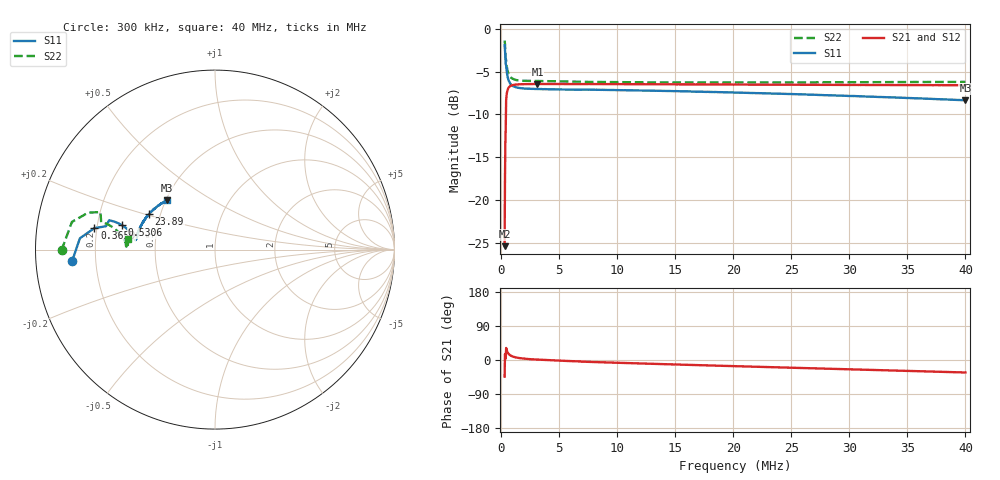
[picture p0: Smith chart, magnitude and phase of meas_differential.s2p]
! Created with skrf 1.12.0 (http://scikit-rf.org).
! Data is not renormalized
! S-parameter uses the power definition
# Hz S RI R
!freq ReS11 ImS11 ReS21 ImS21 ReS12 ImS12 ReS22 ImS22
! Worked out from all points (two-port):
!   1206 points, 300 kHz to 40 MHz, reference per port
!   highest |S21| = -6.45 dB at 3.133 MHz (marker M1); lowest = -25.4 dB at 300 kHz (marker M2)
!   |S21| within 3 dB of the highest: 419.8 kHz to end of sweep
!   lowest |S11| = -8.3 dB at 40 MHz (marker M3), VSWR 2.24
!   |S11| at or under -10 dB: nowhere
!   |S22| runs from -6.3 to -1.4 dB; largest |S21 - S12| = 0.011
!   S11 on the Smith chart (normalised r, x): 300 kHz: 0.11, -0.04; 365.9 kHz: 0.19, +0.09; 530.6 kHz: 0.31, +0.12; 23.89 MHz: 0.43, +0.21; 40 MHz: 0.51, +0.33
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300000  -0.7964 -0.0652  0.0386 -0.0374  0.0382 -0.0399  -0.8548 -0.00343
! Port Impedance 100.00000000000000 0.00000000000000 100.00000000000000 0.00000000000000
365892  -0.6718 0.1197  0.2149 0.0403  0.2216 0.0343  -0.7064 0.206
530622  -0.5187 0.1364  0.4021 0.1613  0.4025 0.1669  -0.5657 0.1214
563568  -0.5065 0.1286  0.4149 0.1495  0.416 0.1552  -0.5548 0.113
596514  -0.4976 0.1212  0.4246 0.1395  0.426 0.1452  -0.546 0.1057
629460  -0.4902 0.1149  0.4319 0.1303  0.4336 0.136  -0.5391 0.0975
728298  -0.4757 0.0995  0.4467 0.1094  0.4493 0.1148  -0.5255 0.0824
827136  -0.467 0.0897  0.4552 0.0938  0.4579 0.099  -0.5164 0.0711
958920  -0.4593 0.079  0.4617 0.0784  0.4648 0.0835  -0.509 0.0602
1123650  -0.4542 0.0709  0.4663 0.0649  0.4698 0.0699  -0.5039 0.0502
1584894  -0.447 0.0585  0.4721 0.0413  0.476 0.0465  -0.4975 0.0334
2210868  -0.4441 0.0532  0.4747 0.0237  0.4792 0.0285  -0.496 0.0235
3133356  -0.442 0.054  0.4761 0.00726  0.4808 0.0116  -0.4955 0.0183
6691524  -0.4343 0.0754  0.4746 -0.0303  0.4797 -0.027  -0.4913 0.018
6922146  -0.4349 0.0785  0.4744 -0.0357  0.4815 -0.0359  -0.4904 0.0162
7712850  -0.4325 0.0844  0.4737 -0.0421  0.4804 -0.0425  -0.4893 0.0167
1.354429e7  -0.4153 0.1277  0.4664 -0.0866  0.473 -0.0882  -0.4861 0.0215
2.016644e7  -0.3868 0.1742  0.4535 -0.1326  0.4599 -0.1359  -0.4853 0.0296
2.388934e7  -0.3678 0.1979  0.4445 -0.1568  0.4504 -0.1609  -0.4849 0.0348
2.678858e7  -0.3518 0.2151  0.4369 -0.1757  0.4425 -0.1806  -0.4852 0.0391
3.341073e7  -0.3107 0.249  0.4166 -0.2165  0.421 -0.2224  -0.4858 0.0494
3.999993e7  -0.2655 0.2752  0.3926 -0.2545  0.3954 -0.2613  -0.4859 0.0602
